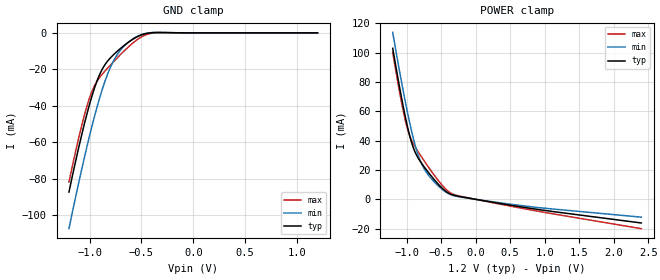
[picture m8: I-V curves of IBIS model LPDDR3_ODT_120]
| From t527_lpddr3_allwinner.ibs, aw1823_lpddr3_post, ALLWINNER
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|   Model LPDDR3_ODT_120
[Model] LPDDR3_ODT_120
Model_type Input
Polarity   Non-Inverting
Vinl =  0.600V
Vinh =  0.600V
C_comp   1.920pF   1.867pF   1.991pF
C_comp_pullup   1.190pF   1.185pF   1.193pF
C_comp_pulldown   0.607pF   0.489pF   0.771pF
[Model Spec]
Vinh   0.600V   0.570V   0.630V
Vinl   0.600V   0.570V   0.630V
[Temperature Range]   25.000   0.125k   -40.000
[Voltage Range]   1.200V   1.140V   1.260V
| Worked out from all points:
|   GND clamp passes 1 mA (typ) near -0.49 V on its own axis
|   POWER clamp passes 1 mA (typ) near -0.12 V on its own axis
[GND_clamp]
|Voltage   I(typ)   I(min)   I(max)
-1.2V     -87.41mA   -107.5mA   -81.96mA
-1.125V   -67.78mA   -87.31mA   -62.37mA
-1.05V    -49.73mA   -68.22mA   -44.99mA
-975mV    -34.14mA   -50.58mA   -31.73mA
-925mV    -25.78mA   -39.92mA   -26.19mA
-850mV    -17.25mA   -26.2mA    -20.83mA
-775mV    -12.29mA   -15.95mA   -16.19mA
-700mV    -8.463mA   -9.283mA   -11.78mA
-625mV    -5.125mA   -5.053mA   -7.675mA
-500mV    -1.115mA   -986uA     -2.228mA
-375mV    151.8uA    214.8uA    -52.23uA
1.2V      0A         0A         0A
[POWER_clamp]
|Voltage   I(typ)   I(min)   I(max)
-1.2V     102.9mA    113.7mA    100.1mA
-1.075V   69.87mA    80.62mA    66.66mA
-1V       52.39mA    62.39mA    50.37mA
-925mV    38.46mA    46.1mA     39.99mA
-850mV    29.64mA    32.8mA     33.77mA
-775mV    24.07mA    23.5mA     28.35mA
-700mV    19.35mA    17.6mA     23.15mA
-450mV    6.146mA    5.569mA    7.861mA
-350mV    3.295mA    3.027mA    3.973mA
-225mV    1.869mA    1.617mA    2.132mA
875mV     -6.705mA   -5.438mA   -7.87mA
2.4V      -16.12mA   -12.15mA   -19.99mA
